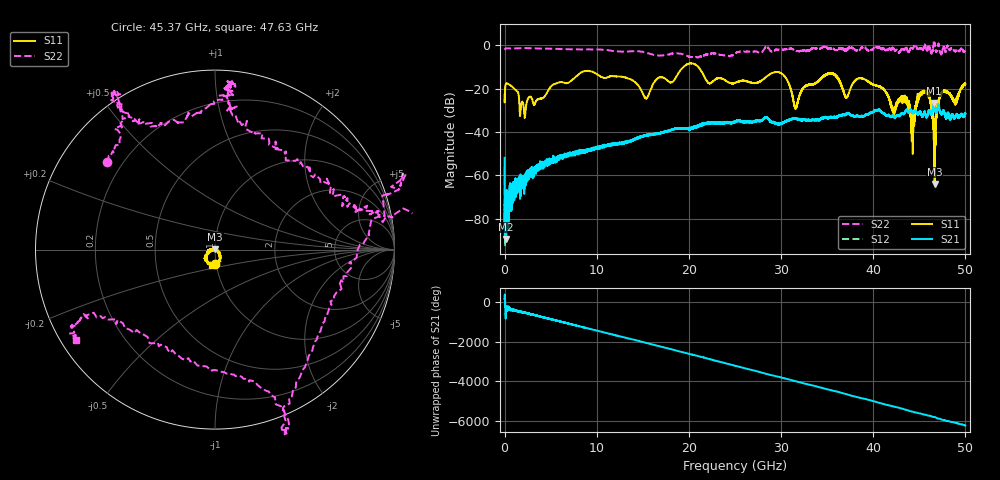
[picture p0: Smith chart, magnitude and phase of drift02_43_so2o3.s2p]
!Created with skrf (http://scikit-rf.org).
# Hz S RI R 50.0
!freq ReS11 ImS11 ReS21 ImS21 ReS12 ImS12 ReS22 ImS22
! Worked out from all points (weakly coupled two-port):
!   10001 points, 300 kHz to 50 GHz, reference 50 ohm
!   highest |S21| = -26.68 dB at 46.6 GHz (marker M1); lowest = -89.4 dB at 130.3 MHz (marker M2)
!   lowest |S11| = -64.1 dB at 46.67 GHz (marker M3), VSWR 1.00, Z = 50 + j0.0575 ohm
!   |S11| at or under -10 dB: start of sweep to 19.42 GHz; 21.01 GHz to end of sweep
!   |S22| runs from -5.7 to 2.2 dB; largest |S21 - S12| = 0.0037
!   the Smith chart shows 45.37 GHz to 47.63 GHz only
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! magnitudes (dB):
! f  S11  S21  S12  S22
! 300 kHz  -22.8  -52.0  -56.5  -2.1
! 130.3 MHz  -17.9  -89.4  -76.5  -1.5
! 2.185 GHz  -33.6  -60.0  -62.3  -1.3
! 8.335 GHz  -12.5  -48.6  -49.1  -1.9
! 15.34 GHz  -24.5  -41.8  -41.5  -3.4
! 16.67 GHz  -15.1  -40.8  -40.7  -4.7
! 20.3 GHz  -8.4  -38.0  -38.6  -5.5
! 25 GHz  -17.3  -35.0  -35.4  -3.9
! 29.85 GHz  -12.6  -36.2  -36.5  -2.0
! 31.59 GHz  -28.9  -33.9  -34.0  -2.4
! 33.34 GHz  -17.9  -34.6  -34.5  -1.6
! 35.61 GHz  -13.0  -33.3  -33.3  -1.6
! 37.1 GHz  -24.2  -31.9  -31.7  -2.1
! 38.76 GHz  -15.3  -32.6  -32.6  -1.0
! 41.67 GHz  -24.1  -32.0  -32.2  -2.0
! 43.49 GHz  -24.3  -30.6  -30.6  -1.6
! 44.25 GHz  -33.3  -31.0  -31.0  -1.4
! 45.72 GHz  -21.6  -32.7  -32.7  -1.0
! 46.6 GHz  -42.7  -26.7  -26.8  1.9
! 46.67 GHz  -64.1  -28.8  -28.6  0.4
! 47.47 GHz  -21.9  -31.8  -31.4  -3.5
! 50 GHz  -18.0  -31.5  -31.3  -2.7
